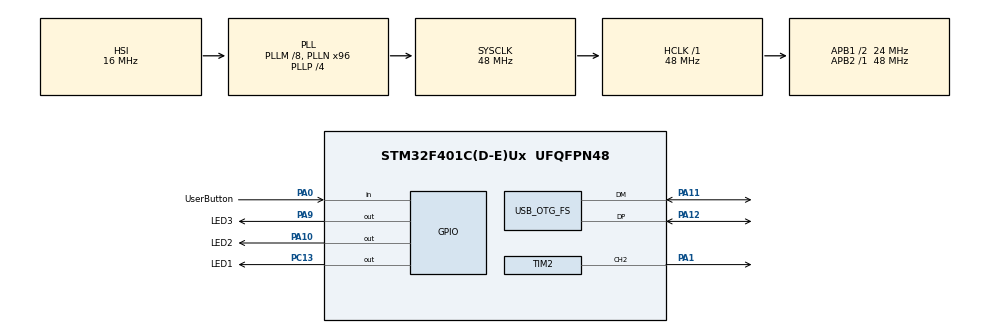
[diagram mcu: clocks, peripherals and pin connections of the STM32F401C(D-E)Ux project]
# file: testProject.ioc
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FREERTOS.Tasks01=defaultTask,0,128,StartDefaultTask,Default,NULL,Dynamic,NULL,NULL;LedTask,-3,128,StartLedTask02,Default,NULL,Dynamic,NULL,NULL;Toogle,-3,128,StartToogleTask03,Default,NULL,Dynamic,NULL,NULL
FREERTOS.configUSE_NEWLIB_REENTRANT=1
Mcu.Family=STM32F4
Mcu.Name=STM32F401C(D-E)Ux
Mcu.Package=UFQFPN48
NVIC.OTG_FS_IRQn=true\:5\:0\:false\:false\:true\:true\:true\:true\:true
NVIC.PriorityGroup=NVIC_PRIORITYGROUP_4
NVIC.TIM1_UP_TIM10_IRQn=true\:15\:0\:false\:false\:true\:false\:true\:true\:true
NVIC.TimeBase=TIM1_UP_TIM10_IRQn
NVIC.TimeBaseIP=TIM1
PA0-WKUP.GPIO_Label=UserButton
PA0-WKUP.Signal=GPIO_Input
PA1.Signal=S_TIM2_CH2
PA10.GPIO_Label=LED2
PA10.Signal=GPIO_Output
PA11.Mode=Device_Only
PA11.Signal=USB_OTG_FS_DM
PA12.Mode=Device_Only
PA12.Signal=USB_OTG_FS_DP
PA13.Mode=Serial_Wire
PA13.Signal=SYS_JTMS-SWDIO
PA14.Mode=Serial_Wire
PA14.Signal=SYS_JTCK-SWCLK
PA9.GPIO_Label=LED3
PA9.Signal=GPIO_Output
PC13-ANTI_TAMP.GPIO_Label=LED1
PC13-ANTI_TAMP.Signal=GPIO_Output
PC14-OSC32_IN.Mode=LSE-External-Oscillator
PC14-OSC32_IN.Signal=RCC_OSC32_IN
PC15-OSC32_OUT.Mode=LSE-External-Oscillator
PC15-OSC32_OUT.Signal=RCC_OSC32_OUT
PH0\ -\ OSC_IN.Mode=HSE-External-Oscillator
PH0\ -\ OSC_IN.Signal=RCC_OSC_IN
PH1\ -\ OSC_OUT.Mode=HSE-External-Oscillator
PH1\ -\ OSC_OUT.Signal=RCC_OSC_OUT
ProjectManager.HeapSize=0x200
ProjectManager.StackSize=0x400
ProjectManager.TargetToolchain=STM32CubeIDE
RCC.48MHZClocksFreq_Value=48000000
RCC.AHBFreq_Value=48000000
RCC.APB1CLKDivider=RCC_HCLK_DIV2
RCC.APB1Freq_Value=24000000
RCC.APB1TimFreq_Value=48000000
RCC.APB2Freq_Value=48000000
RCC.APB2TimFreq_Value=48000000
RCC.CortexFreq_Value=48000000
RCC.HCLKFreq_Value=48000000
RCC.HSE_VALUE=8000000
RCC.HSI_VALUE=16000000
RCC.PLLM=8
RCC.PLLN=96
RCC.PLLP=RCC_PLLP_DIV4
RCC.PLLSource=RCC_PLLSOURCE_HSI
RCC.PLLSourceVirtualString=RCC_PLLSOURCE_HSI
RCC.SYSCLKFreq_VALUE=48000000
RCC.SYSCLKSource=RCC_SYSCLKSOURCE_PLLCLK
RCC.VCOOutputFreq_Value=192000000
SH.S_TIM2_CH2.0=TIM2_CH2,PWM Generation2 CH2
TIM10.Period=999
TIM10.Prescaler=41999
TIM2.Channel-PWM\ Generation2\ CH2=TIM_CHANNEL_2
<<<<<<< HEAD
=======
TIM2.Prescaler=89
>>>>>>> 270b2dcd1dfac7e2ab1fa8f90e246f373cdbc51d
USB_DEVICE.CLASS_NAME_FS=MSC
USB_DEVICE.PRODUCT_STRING_MSC_FS=AnaTolySDMEM
USB_DEVICE.VirtualMode-MSC_FS=Msc
USB_DEVICE.VirtualModeFS=Msc_FS
USB_OTG_FS.VirtualMode=Device_Only
VP_FREERTOS_VS_CMSIS_V1.Mode=CMSIS_V1
VP_SYS_VS_tim1.Mode=TIM1
VP_TIM10_VS_ClockSourceINT.Mode=Enable_Timer
VP_USB_DEVICE_VS_USB_DEVICE_MSC_FS.Mode=MSC_FS
board=custom
<<<<<<< HEAD
=======
>>>>>>> 270b2dcd1dfac7e2ab1fa8f90e246f373cdbc51d

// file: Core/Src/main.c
/* USER CODE BEGIN Header */
/**
  ******************************************************************************
  * @file           : main.c
  * @brief          : Main program body
  ******************************************************************************
  * @attention
  *
  * Copyright (c) 2025 STMicroelectronics.
  * All rights reserved.
  *
  * This software is licensed under terms that can be found in the LICENSE file
  * in the root directory of this software component.
  * If no LICENSE file comes with this software, it is provided AS-IS.
  *
  ******************************************************************************
  */
/* USER CODE END Header */
#include "main.h"
#include "cmsis_os.h"
#include "usb_device.h"

TIM_HandleTypeDef htim2;
TIM_HandleTypeDef htim10;

osThreadId defaultTaskHandle;
osThreadId LedTaskHandle;
osThreadId ToogleHandle;

void SystemClock_Config(void);
static void MX_GPIO_Init(void);
static void MX_TIM10_Init(void);
static void MX_TIM2_Init(void);
void StartDefaultTask(void const * argument);
void StartLedTask02(void const * argument);
void StartToogleTask03(void const * argument);

int main(void)
{

  /* MCU Configuration--------------------------------------------------------*/

  /* Reset of all peripherals, Initializes the Flash interface and the Systick. */
  HAL_Init();

  /* Configure the system clock */
  SystemClock_Config();

  /* Initialize all configured peripherals */
  MX_GPIO_Init();
  MX_TIM10_Init();
  MX_TIM2_Init();

  /* Create the thread(s) */
  /* definition and creation of defaultTask */
  osThreadDef(defaultTask, StartDefaultTask, osPriorityNormal, 0, 128);
  defaultTaskHandle = osThreadCreate(osThread(defaultTask), NULL);

  /* definition and creation of LedTask */
  osThreadDef(LedTask, StartLedTask02, osPriorityIdle, 0, 128);
  LedTaskHandle = osThreadCreate(osThread(LedTask), NULL);

  /* definition and creation of Toogle */
  osThreadDef(Toogle, StartToogleTask03, osPriorityIdle, 0, 128);
  ToogleHandle = osThreadCreate(osThread(Toogle), NULL);

  /* Start scheduler */
  osKernelStart();

  /* We should never get here as control is now taken by the scheduler */

  /* Infinite loop */
  while (1)
  {

    /* USER CODE BEGIN 3 */
//	  SysTick_Config(SystemCoreClock/1000);
//	  if(SysTick_Config(SystemCoreClock/1000)){
//	  HAL_GPIO_TogglePin(LedPin_GPIO_Port, LedPin_Pin);
//	  HAL_Delay(2000);
//	  }
//	  else{
//		  HAL_GPIO_WritePin(LedPin_GPIO_Port, LedPin_Pin,GPIO_PIN_RESET);
//	  }
  }
  /* USER CODE END 3 */
}

void SystemClock_Config(void)
{
  RCC_OscInitTypeDef RCC_OscInitStruct = {0};
  RCC_ClkInitTypeDef RCC_ClkInitStruct = {0};

  /** Configure the main internal regulator output voltage
  */
  __HAL_RCC_PWR_CLK_ENABLE();
  __HAL_PWR_VOLTAGESCALING_CONFIG(PWR_REGULATOR_VOLTAGE_SCALE2);

  /** Initializes the RCC Oscillators according to the specified parameters
  * in the RCC_OscInitTypeDef structure.
  */
  RCC_OscInitStruct.OscillatorType = RCC_OSCILLATORTYPE_HSI;
  RCC_OscInitStruct.HSIState = RCC_HSI_ON;
  RCC_OscInitStruct.HSICalibrationValue = RCC_HSICALIBRATION_DEFAULT;
  RCC_OscInitStruct.PLL.PLLState = RCC_PLL_ON;
  RCC_OscInitStruct.PLL.PLLSource = RCC_PLLSOURCE_HSI;
  RCC_OscInitStruct.PLL.PLLM = 8;
  RCC_OscInitStruct.PLL.PLLN = 96;
  RCC_OscInitStruct.PLL.PLLP = RCC_PLLP_DIV4;
  RCC_OscInitStruct.PLL.PLLQ = 4;
  if (HAL_RCC_OscConfig(&RCC_OscInitStruct) != HAL_OK)
  {
    Error_Handler();
  }

  /** Initializes the CPU, AHB and APB buses clocks
  */
  RCC_ClkInitStruct.ClockType = RCC_CLOCKTYPE_HCLK|RCC_CLOCKTYPE_SYSCLK
                              |RCC_CLOCKTYPE_PCLK1|RCC_CLOCKTYPE_PCLK2;
  RCC_ClkInitStruct.SYSCLKSource = RCC_SYSCLKSOURCE_PLLCLK;
  RCC_ClkInitStruct.AHBCLKDivider = RCC_SYSCLK_DIV1;
  RCC_ClkInitStruct.APB1CLKDivider = RCC_HCLK_DIV2;
  RCC_ClkInitStruct.APB2CLKDivider = RCC_HCLK_DIV1;

  if (HAL_RCC_ClockConfig(&RCC_ClkInitStruct, FLASH_LATENCY_1) != HAL_OK)
  {
    Error_Handler();
  }
}

static void MX_TIM2_Init(void)
{

  TIM_MasterConfigTypeDef sMasterConfig = {0};
  TIM_OC_InitTypeDef sConfigOC = {0};

  htim2.Instance = TIM2;
  htim2.Init.Prescaler = 89;
  htim2.Init.CounterMode = TIM_COUNTERMODE_UP;
  htim2.Init.Period = 999;
  htim2.Init.ClockDivision = TIM_CLOCKDIVISION_DIV1;
  htim2.Init.AutoReloadPreload = TIM_AUTORELOAD_PRELOAD_DISABLE;
  if (HAL_TIM_PWM_Init(&htim2) != HAL_OK)
  {
    Error_Handler();
  }
  sMasterConfig.MasterOutputTrigger = TIM_TRGO_RESET;
  sMasterConfig.MasterSlaveMode = TIM_MASTERSLAVEMODE_DISABLE;
  if (HAL_TIMEx_MasterConfigSynchronization(&htim2, &sMasterConfig) != HAL_OK)
  {
    Error_Handler();
  }
  sConfigOC.OCMode = TIM_OCMODE_PWM1;
  sConfigOC.Pulse = 0;
  sConfigOC.OCPolarity = TIM_OCPOLARITY_HIGH;
  sConfigOC.OCFastMode = TIM_OCFAST_DISABLE;
  if (HAL_TIM_PWM_ConfigChannel(&htim2, &sConfigOC, TIM_CHANNEL_2) != HAL_OK)
  {
    Error_Handler();
  }
  HAL_TIM_MspPostInit(&htim2);
  HAL_TIM_PWM_Start(&htim2, TIM_CHANNEL_2);

  HAL_TIM_PWM_Start(&htim2, TIM_CHANNEL_2); // ← обязательно!

}
static void MX_TIM10_Init(void)
{

  htim10.Instance = TIM10;
  htim10.Init.Prescaler = 41999;
  htim10.Init.CounterMode = TIM_COUNTERMODE_UP;
  htim10.Init.Period = 999;
  htim10.Init.ClockDivision = TIM_CLOCKDIVISION_DIV1;
  htim10.Init.AutoReloadPreload = TIM_AUTORELOAD_PRELOAD_DISABLE;
  if (HAL_TIM_Base_Init(&htim10) != HAL_OK)
  {
    Error_Handler();
  }

}

static void MX_GPIO_Init(void)
{
  GPIO_InitTypeDef GPIO_InitStruct = {0};

  /* GPIO Ports Clock Enable */
  __HAL_RCC_GPIOC_CLK_ENABLE();
  __HAL_RCC_GPIOH_CLK_ENABLE();
  __HAL_RCC_GPIOA_CLK_ENABLE();

  /*Configure GPIO pin Output Level */
  HAL_GPIO_WritePin(LED1_GPIO_Port, LED1_Pin, GPIO_PIN_RESET);

  /*Configure GPIO pin Output Level */
  HAL_GPIO_WritePin(GPIOA, LED3_Pin|LED2_Pin, GPIO_PIN_RESET);

  /*Configure GPIO pin : LED1_Pin */
  GPIO_InitStruct.Pin = LED1_Pin;
  GPIO_InitStruct.Mode = GPIO_MODE_OUTPUT_PP;
  GPIO_InitStruct.Pull = GPIO_NOPULL;
  GPIO_InitStruct.Speed = GPIO_SPEED_FREQ_LOW;
  HAL_GPIO_Init(LED1_GPIO_Port, &GPIO_InitStruct);

  /*Configure GPIO pin : UserButton_Pin */
  GPIO_InitStruct.Pin = UserButton_Pin;
  GPIO_InitStruct.Mode = GPIO_MODE_INPUT;
  GPIO_InitStruct.Pull = GPIO_NOPULL;
  HAL_GPIO_Init(UserButton_GPIO_Port, &GPIO_InitStruct);

  /*Configure GPIO pins : LED3_Pin LED2_Pin */
  GPIO_InitStruct.Pin = LED3_Pin|LED2_Pin;
  GPIO_InitStruct.Mode = GPIO_MODE_OUTPUT_PP;
  GPIO_InitStruct.Pull = GPIO_NOPULL;
  GPIO_InitStruct.Speed = GPIO_SPEED_FREQ_LOW;
  HAL_GPIO_Init(GPIOA, &GPIO_InitStruct);

/* USER CODE BEGIN MX_GPIO_Init_2 */
  /* Configure PA0 as TIM2_CH1 */
  GPIO_InitStruct.Pin = GPIO_PIN_1;
  GPIO_InitStruct.Mode = GPIO_MODE_AF_PP;
  GPIO_InitStruct.Pull = GPIO_NOPULL;
  GPIO_InitStruct.Speed = GPIO_SPEED_FREQ_LOW;
  GPIO_InitStruct.Alternate = GPIO_AF1_TIM2;
  HAL_GPIO_Init(GPIOA, &GPIO_InitStruct);
/* USER CODE END MX_GPIO_Init_2 */
}

void StartDefaultTask(void const * argument)
{
  /* init code for USB_DEVICE */
  MX_USB_DEVICE_Init();
  for(;;)
  {
    osDelay(1);
  }
}

void StartLedTask02(void const * argument)
{
  /* USER CODE BEGIN StartLedTask02 */
  /* Infinite loop */
  for(;;)
  {
	  HAL_GPIO_TogglePin(LED1_GPIO_Port, LED1_Pin);
	  HAL_GPIO_TogglePin(LED2_GPIO_Port, LED2_Pin);

    osDelay(100);
  }
  /* USER CODE END StartLedTask02 */
}

void StartToogleTask03(void const * argument)
{
  /* USER CODE BEGIN StartToogleTask03 */
  /* Infinite loop */

	for(;;)
	  {
		if(HAL_GPIO_ReadPin(UserButton_GPIO_Port, UserButton_Pin)==SET){
			for (uint32_t i = 0; i <= 999; i += 30)
					    {
					      __HAL_TIM_SET_COMPARE(&htim2, TIM_CHANNEL_2, i);
					      osDelay(50); // используем osDelay, а не HAL_Delay
					    }
		}
		else{
			__HAL_TIM_SET_COMPARE(&htim2, TIM_CHANNEL_2, 1);
		}

  /* USER CODE END StartToogleTask03 */
}
}

void HAL_TIM_PeriodElapsedCallback(TIM_HandleTypeDef *htim)
{
  if (htim->Instance == TIM1) {
    HAL_IncTick();
  }
}

void Error_Handler(void)
{
  __disable_irq();
  while (1)
  {
  }
}
